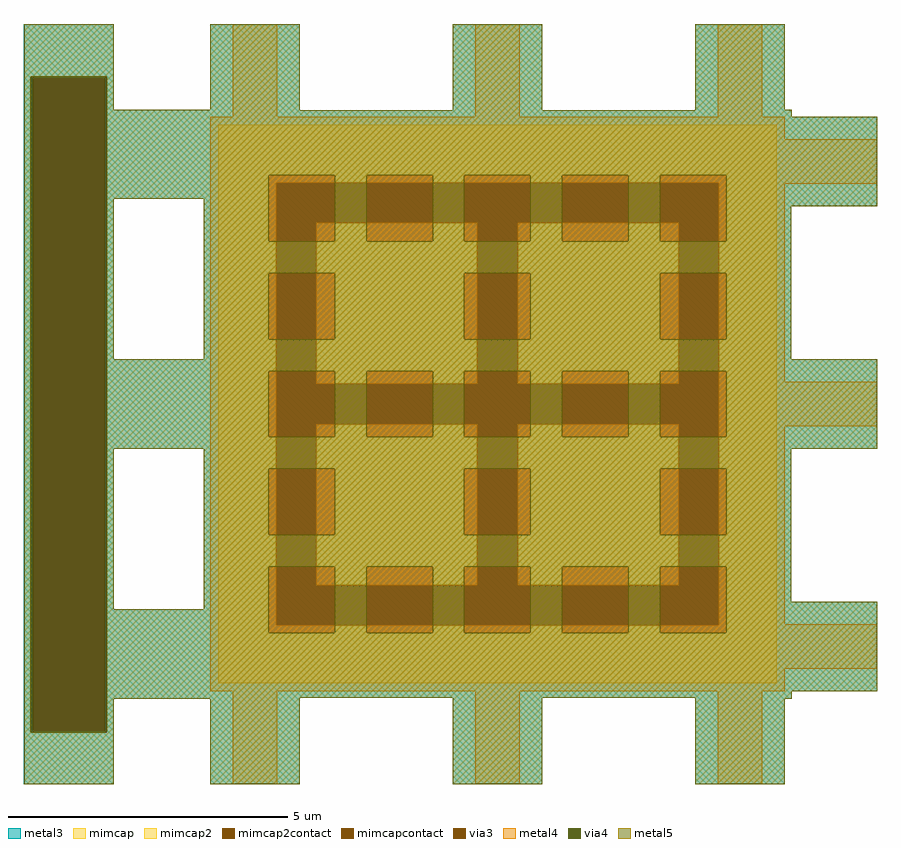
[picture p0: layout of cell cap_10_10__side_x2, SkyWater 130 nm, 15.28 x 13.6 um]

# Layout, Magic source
magic
tech sky130A
magscale 1 2
<< metal3 >>
rect -712 2166 -390 2354
rect -712 -180 -679 2166
rect -421 2048 -390 2166
rect -44 2048 276 2354
rect -421 2046 276 2048
rect 824 2046 1144 2354
rect 1692 2048 2012 2354
rect 1692 2046 2038 2048
rect -421 2022 2038 2046
rect -421 1728 2344 2022
rect -421 1154 -390 1728
rect -68 1702 2344 1728
rect -68 1154 2036 1702
rect -421 834 2344 1154
rect -421 260 -390 834
rect -68 286 2036 834
rect -68 260 2344 286
rect -421 -34 2344 260
rect -421 -58 2038 -34
rect -421 -60 276 -58
rect -421 -180 -390 -60
rect -712 -366 -390 -180
rect -44 -366 276 -60
rect 824 -366 1144 -58
rect 1692 -60 2038 -58
rect 1692 -366 2012 -60
<< via3 >>
rect -679 -180 -421 2166
<< mimcap >>
rect -16 1786 1984 1994
rect -16 202 192 1786
rect 336 1066 912 1642
rect 1056 1066 1632 1642
rect 336 346 912 922
rect 1056 346 1632 922
rect 1776 202 1984 1786
rect -16 -6 1984 202
<< mimcapcontact >>
rect 192 1642 1776 1786
rect 192 1066 336 1642
rect 912 1066 1056 1642
rect 1632 1066 1776 1642
rect 192 922 1776 1066
rect 192 346 336 922
rect 912 346 1056 922
rect 1632 346 1776 922
rect 192 202 1776 346
<< metal4 >>
rect -686 2166 -414 2167
rect 36 2022 196 2354
rect 904 2022 1064 2354
rect 1772 2022 1932 2354
rect -44 1942 2012 2022
rect -44 1786 2344 1942
rect -44 202 192 1786
rect 1776 1782 2344 1786
rect 336 1066 912 1642
rect 1056 1066 1632 1642
rect 1776 1074 2012 1782
rect 336 346 912 922
rect 1056 346 1632 922
rect 1776 914 2344 1074
rect 1776 206 2012 914
rect 1776 202 2344 206
rect -44 46 2344 202
rect -44 -34 2012 46
rect -686 -181 -414 -180
rect 36 -366 196 -34
rect 904 -366 1064 -34
rect 1772 -366 1932 -34
<< via4 >>
rect -686 -180 -679 2166
rect -679 -180 -421 2166
rect -421 -180 -414 2166
<< mimcap2 >>
rect -16 1812 1984 1994
rect -16 1576 166 1812
rect 402 1576 516 1812
rect 752 1576 866 1812
rect 1102 1576 1216 1812
rect 1452 1576 1566 1812
rect 1802 1576 1984 1812
rect -16 1462 1984 1576
rect -16 1226 166 1462
rect 402 1226 866 1462
rect 1102 1226 1566 1462
rect 1802 1226 1984 1462
rect -16 1112 1984 1226
rect -16 876 166 1112
rect 402 876 516 1112
rect 752 876 866 1112
rect 1102 876 1216 1112
rect 1452 876 1566 1112
rect 1802 876 1984 1112
rect -16 762 1984 876
rect -16 526 166 762
rect 402 526 866 762
rect 1102 526 1566 762
rect 1802 526 1984 762
rect -16 412 1984 526
rect -16 176 166 412
rect 402 176 516 412
rect 752 176 866 412
rect 1102 176 1216 412
rect 1452 176 1566 412
rect 1802 176 1984 412
rect -16 -6 1984 176
<< mimcap2contact >>
rect 166 1576 402 1812
rect 516 1576 752 1812
rect 866 1576 1102 1812
rect 1216 1576 1452 1812
rect 1566 1576 1802 1812
rect 166 1226 402 1462
rect 866 1226 1102 1462
rect 1566 1226 1802 1462
rect 166 876 402 1112
rect 516 876 752 1112
rect 866 876 1102 1112
rect 1216 876 1452 1112
rect 1566 876 1802 1112
rect 166 526 402 762
rect 866 526 1102 762
rect 1566 526 1802 762
rect 166 176 402 412
rect 516 176 752 412
rect 866 176 1102 412
rect 1216 176 1452 412
rect 1566 176 1802 412
<< metal5 >>
rect -710 2166 -390 2354
rect -710 -180 -686 2166
rect -414 2048 -390 2166
rect -44 2048 276 2354
rect -414 2046 276 2048
rect 824 2046 1144 2354
rect 1692 2048 2012 2354
rect 1692 2046 2038 2048
rect -414 2022 2038 2046
rect -414 1812 2344 2022
rect -414 1728 166 1812
rect -414 1154 -390 1728
rect -68 1576 166 1728
rect 402 1576 516 1812
rect 752 1576 866 1812
rect 1102 1576 1216 1812
rect 1452 1576 1566 1812
rect 1802 1702 2344 1812
rect 1802 1576 2036 1702
rect -68 1462 2036 1576
rect -68 1226 166 1462
rect 402 1226 866 1462
rect 1102 1226 1566 1462
rect 1802 1226 2036 1462
rect -68 1154 2036 1226
rect -414 1112 2344 1154
rect -414 876 166 1112
rect 402 876 516 1112
rect 752 876 866 1112
rect 1102 876 1216 1112
rect 1452 876 1566 1112
rect 1802 876 2344 1112
rect -414 834 2344 876
rect -414 260 -390 834
rect -68 762 2036 834
rect -68 526 166 762
rect 402 526 866 762
rect 1102 526 1566 762
rect 1802 526 2036 762
rect -68 412 2036 526
rect -68 260 166 412
rect -414 176 166 260
rect 402 176 516 412
rect 752 176 866 412
rect 1102 176 1216 412
rect 1452 176 1566 412
rect 1802 286 2036 412
rect 1802 176 2344 286
rect -414 -34 2344 176
rect -414 -58 2038 -34
rect -414 -60 276 -58
rect -414 -180 -390 -60
rect -710 -366 -390 -180
rect -44 -366 276 -60
rect 824 -366 1144 -58
rect 1692 -60 2038 -58
rect 1692 -366 2012 -60
<< end >>
